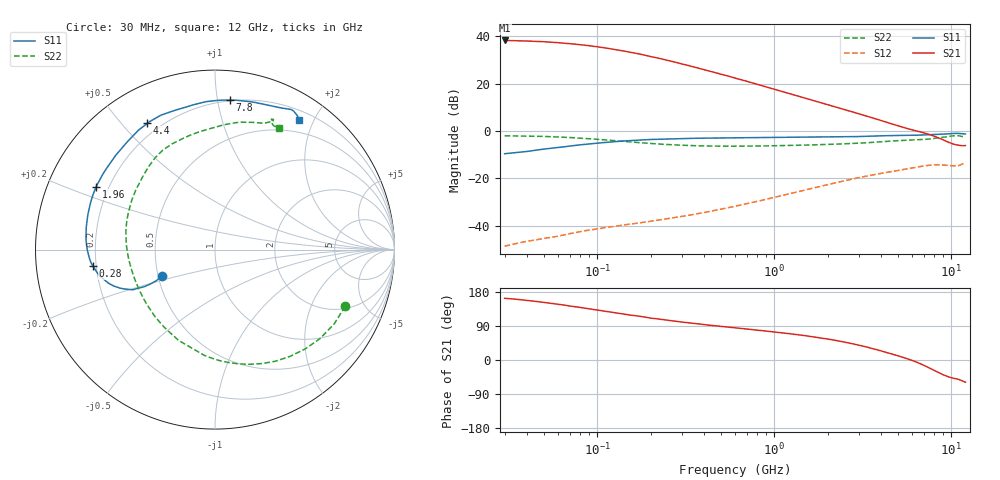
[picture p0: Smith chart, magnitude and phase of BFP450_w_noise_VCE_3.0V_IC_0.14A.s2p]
! (c) 2015  Infineon Technologies AG, Munich
! Infineon Technologies  Discrete & RF Semiconductors
! BFP450
! VCE =  3.0 V,  IC = 0.14 A
! Common Emitter S-Parameters:  Nov 2015
# GHz  S  MA  R  50
!  f  S11  S21  S12  S22
! GHz  MAG  ANG  MAG  ANG  MAG  ANG  MAG  ANG
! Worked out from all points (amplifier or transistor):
!   239 points, 30 MHz to 12 GHz, reference 50 ohm
!   highest |S21| = 38.2 dB at 30 MHz (marker M1)
!   |S21| within 3 dB of that: start of sweep to 107.6 MHz
!   unconditionally stable (mu >= 1): 780.1 MHz to end of sweep
!   at 300 MHz: K = 0.78, MSG = 32.2 dB, |S12| = -36.1 dB
!   at 1.88 GHz: K = 1.09, MAG = 15.5 dB, |S12| = -23.1 dB
!   at 12 GHz: K = 1.08, MAG = 1.9 dB, |S12| = -13.4 dB
!   lowest NFmin = 2.52 dB at 450 MHz
!   S11 on the Smith chart (normalised r, x): 30 MHz: 0.52, -0.17; 280 MHz: 0.19, -0.06; 1.96 GHz: 0.15, +0.24; 4.4 GHz: 0.15, +0.59; 7.8 GHz: 0.20, +1.09; 12 GHz: 0.32, +1.80
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0.03  0.3307 -153.8  81.37 162.9  0.0037 83.4  0.7914 -23.5
0.04  0.3689 -152.1  79.21 157.4  0.0047 77.9  0.7825 -31.9
0.05  0.4144 -152.0  76.49 152.0  0.0054 72.8  0.7671 -40.2
0.06  0.4474 -152.4  73.12 147.4  0.006 70.2  0.7477 -47.7
0.07  0.48 -153.4  69.68 142.5  0.0068 67.2  0.7272 -54.9
0.085  0.5212 -154.7  64.67 137.0  0.0078 64.9  0.6962 -64.5
0.105  0.5622 -157.3  58.37 130.2  0.0088 62.4  0.6579 -75.8
0.13  0.6003 -160.3  51.41 123.4  0.0099 60.1  0.6181 -87.9
0.15  0.6228 -162.6  46.64 119.0  0.0107 59.4  0.5918 -95.9
0.2  0.6611 -167.3  37.23 110.5  0.0124 58.4  0.5451 -111.8
0.24  0.6749 -170.0  32.08 106.0  0.0138 58.8  0.521 -121.0
0.28  0.6867 -172.4  27.93 102.1  0.0151 59.5  0.5055 -128.7
0.3  0.6925 -173.5  26.04 100.1  0.0157 59.8  0.5001 -132.3
0.4  0.7053 -177.8  19.73 93.4  0.0189 61.5  0.4835 -144.9
0.6  0.7196 176.4  13.06 84.7  0.0257 63.5  0.4766 -160.0
1  0.7294 168.0  7.575 74.0  0.0396 63.3  0.4865 -176.4
1.64  0.7437 157.1  4.454 61.6  0.0617 58.1  0.5078 167.7
1.96  0.7488 152.0  3.671 56.1  0.0723 54.6  0.5181 161.2
4.4  0.7981 118.2  1.485 18.8  0.135 26.2  0.6063 124.2
4.5  0.8007 117.1  1.444 17.3  0.137 25.2  0.6107 123.1
7.8  0.8368 84.3  0.802 -24.8  0.1918 -10.6  0.6874 88.4
12  0.863 57.0  0.491 -58.5  0.2132 -40.3  0.7644 62.2
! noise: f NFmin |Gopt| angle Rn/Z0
0.45  2.52  0.68  -171  0.07
0.9  2.56  0.71  -165  0.09
1.9  2.65  0.72  -149  0.21
2.4  2.73  0.72  -139  0.32
